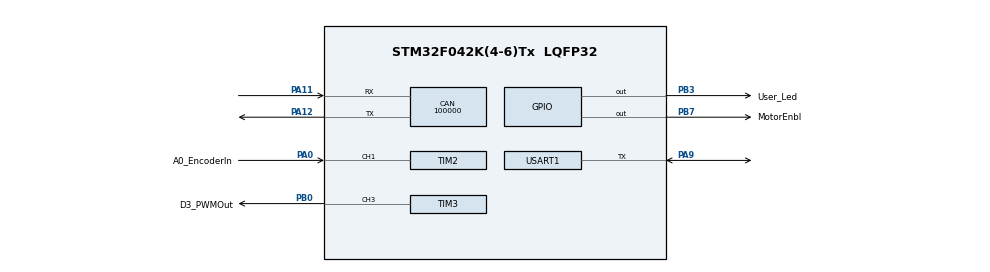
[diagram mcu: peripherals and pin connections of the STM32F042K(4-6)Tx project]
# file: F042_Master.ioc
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ADC.SamplingTime=ADC_SAMPLETIME_239CYCLES_5
CAN.BS1=CAN_BS1_2TQ
CAN.BS2=CAN_BS2_2TQ
CAN.CalculateBaudRate=100000
CAN.CalculateTimeBit=10000
CAN.CalculateTimeQuantum=2000.0
Dma.Request0=TIM2_CH1
Dma.TIM2_CH1.0.Direction=DMA_PERIPH_TO_MEMORY
Dma.TIM2_CH1.0.Instance=DMA1_Channel5
Dma.TIM2_CH1.0.MemDataAlignment=DMA_MDATAALIGN_WORD
Dma.TIM2_CH1.0.MemInc=DMA_MINC_ENABLE
Dma.TIM2_CH1.0.Mode=DMA_CIRCULAR
Dma.TIM2_CH1.0.PeriphDataAlignment=DMA_PDATAALIGN_WORD
Dma.TIM2_CH1.0.PeriphInc=DMA_PINC_DISABLE
Dma.TIM2_CH1.0.Priority=DMA_PRIORITY_LOW
Mcu.Family=STM32F0
Mcu.Name=STM32F042K(4-6)Tx
Mcu.Package=LQFP32
NVIC.CEC_CAN_IRQn=true\:1\:0\:true\:false\:true\:true\:true\:true
NVIC.DMA1_Channel4_5_IRQn=true\:0\:0\:false\:false\:true\:false\:true\:true
NVIC.TIM16_IRQn=true\:3\:0\:true\:false\:true\:true\:true\:true
NVIC.USART1_IRQn=true\:0\:0\:true\:false\:true\:true\:true\:true
PA0.GPIO_Label=A0_EncoderIn
PA0.Signal=S_TIM2_CH1_ETR
PA11.Mode=CAN_Activate
PA11.Signal=CAN_RX
PA12.Mode=CAN_Activate
PA12.Signal=CAN_TX
PA9.Mode=Half_duplex(single_wire_mode)
PA9.Signal=USART1_TX
PB0.GPIO_Label=D3_PWMOut
PB0.Signal=S_TIM3_CH3
PB3.GPIO_Label=User_Led
PB3.Signal=GPIO_Output
PB7.GPIO_Label=MotorEnbl
PB7.Signal=GPIO_Output
ProjectManager.HeapSize=0x200
ProjectManager.StackSize=0x400
ProjectManager.TargetToolchain=MDK-ARM V5.32
SH.S_TIM2_CH1_ETR.0=TIM2_CH1,Input_Capture1_from_TI1
SH.S_TIM3_CH3.0=TIM3_CH3,PWM Generation3 CH3
TIM16.Period=999
TIM16.Prescaler=8
TIM2.Channel-Input_Capture1_from_TI1=TIM_CHANNEL_1
TIM2.Prescaler=8-1
TIM3.Channel-PWM\ Generation3\ CH3=TIM_CHANNEL_3
TIM3.Period=100-1
TIM3.Prescaler=8-1
USART1.BaudRate=9600
USART1.VirtualMode-Half_duplex(single_wire_mode)=VM_ASYNC
VP_ADC_TempSens_Input.Mode=IN-TempSens
VP_CRC_VS_CRC.Mode=CRC_Activate
VP_TIM16_VS_ClockSourceINT.Mode=Enable_Timer
VP_TIM2_VS_ClockSourceINT.Mode=Internal
board=custom

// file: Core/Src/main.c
/* USER CODE BEGIN Header */
/**
  ******************************************************************************
  * @file           : main.c
  * @brief          : Main program body
  ******************************************************************************
  * @attention
  *
  * Copyright (c) 2023 STMicroelectronics.
  * All rights reserved.
  *
  * This software is licensed under terms that can be found in the LICENSE file
  * in the root directory of this software component.
  * If no LICENSE file comes with this software, it is provided AS-IS.
  *
  ******************************************************************************
  */
/* USER CODE END Header */
#include "main.h"

/* USER CODE BEGIN Includes */
#include "usr_system.h"
#include "usr_lin.h"
#include "usr_can.h"
/* USER CODE END Includes */

ADC_HandleTypeDef hadc;

CAN_HandleTypeDef hcan;

CRC_HandleTypeDef hcrc;

TIM_HandleTypeDef htim2;
TIM_HandleTypeDef htim3;
TIM_HandleTypeDef htim16;
DMA_HandleTypeDef hdma_tim2_ch1;

UART_HandleTypeDef huart1;

void SystemClock_Config(void);
static void MX_GPIO_Init(void);
static void MX_DMA_Init(void);
static void MX_CAN_Init(void);
static void MX_CRC_Init(void);
static void MX_USART1_UART_Init(void);
static void MX_TIM16_Init(void);
static void MX_ADC_Init(void);
static void MX_TIM3_Init(void);
static void MX_TIM2_Init(void);

/* USER CODE BEGIN 0 */

void HAL_CAN_RxFifo0MsgPendingCallback(CAN_HandleTypeDef *hcan)
{
  if (HAL_CAN_GetRxMessage(hcan, CAN_RX_FIFO0, &RxHeader, RxData) != HAL_OK)
  {
		g_CANstat = false;
    Error_Handler();
  }

  if ((RxHeader.StdId == CAN_TEMP_ID) || (RxHeader.StdId == CAN_REF_SPEED_ID))
  {
		g_CANstat = true;
	  g_CAN_DataReceived = 1;
  }
}

/* USER CODE END 0 */

int main(void)
{

  /* MCU Configuration--------------------------------------------------------*/

  /* Reset of all peripherals, Initializes the Flash interface and the Systick. */
  HAL_Init();

  /* Configure the system clock */
  SystemClock_Config();

  /* Initialize all configured peripherals */
  MX_GPIO_Init();
  MX_DMA_Init();
  MX_CAN_Init();
  MX_CRC_Init();
  MX_USART1_UART_Init();
  MX_TIM16_Init();
  MX_ADC_Init();
  MX_TIM3_Init();
  MX_TIM2_Init();
  /* USER CODE BEGIN 2 */

  UsrSystemInit();

  /* USER CODE END 2 */

  /* Infinite loop */
  while (1)
  {

    /* USER CODE BEGIN 3 */

    UsrSystemGeneral();

  }
  /* USER CODE END 3 */
}

void SystemClock_Config(void)
{
  RCC_OscInitTypeDef RCC_OscInitStruct = {0};
  RCC_ClkInitTypeDef RCC_ClkInitStruct = {0};
  RCC_PeriphCLKInitTypeDef PeriphClkInit = {0};

  /** Initializes the RCC Oscillators according to the specified parameters
  * in the RCC_OscInitTypeDef structure.
  */
  RCC_OscInitStruct.OscillatorType = RCC_OSCILLATORTYPE_HSI|RCC_OSCILLATORTYPE_HSI14;
  RCC_OscInitStruct.HSIState = RCC_HSI_ON;
  RCC_OscInitStruct.HSI14State = RCC_HSI14_ON;
  RCC_OscInitStruct.HSICalibrationValue = RCC_HSICALIBRATION_DEFAULT;
  RCC_OscInitStruct.HSI14CalibrationValue = 16;
  RCC_OscInitStruct.PLL.PLLState = RCC_PLL_NONE;
  if (HAL_RCC_OscConfig(&RCC_OscInitStruct) != HAL_OK)
  {
    Error_Handler();
  }

  /** Initializes the CPU, AHB and APB buses clocks
  */
  RCC_ClkInitStruct.ClockType = RCC_CLOCKTYPE_HCLK|RCC_CLOCKTYPE_SYSCLK
                              |RCC_CLOCKTYPE_PCLK1;
  RCC_ClkInitStruct.SYSCLKSource = RCC_SYSCLKSOURCE_HSI;
  RCC_ClkInitStruct.AHBCLKDivider = RCC_SYSCLK_DIV1;
  RCC_ClkInitStruct.APB1CLKDivider = RCC_HCLK_DIV1;

  if (HAL_RCC_ClockConfig(&RCC_ClkInitStruct, FLASH_LATENCY_0) != HAL_OK)
  {
    Error_Handler();
  }
  PeriphClkInit.PeriphClockSelection = RCC_PERIPHCLK_USART1;
  PeriphClkInit.Usart1ClockSelection = RCC_USART1CLKSOURCE_PCLK1;
  if (HAL_RCCEx_PeriphCLKConfig(&PeriphClkInit) != HAL_OK)
  {
    Error_Handler();
  }
}

static void MX_ADC_Init(void)
{

  ADC_ChannelConfTypeDef sConfig = {0};

  /** Configure the global features of the ADC (Clock, Resolution, Data Alignment and number of conversion)
  */
  hadc.Instance = ADC1;
  hadc.Init.ClockPrescaler = ADC_CLOCK_ASYNC_DIV1;
  hadc.Init.Resolution = ADC_RESOLUTION_12B;
  hadc.Init.DataAlign = ADC_DATAALIGN_RIGHT;
  hadc.Init.ScanConvMode = ADC_SCAN_DIRECTION_FORWARD;
  hadc.Init.EOCSelection = ADC_EOC_SINGLE_CONV;
  hadc.Init.LowPowerAutoWait = DISABLE;
  hadc.Init.LowPowerAutoPowerOff = DISABLE;
  hadc.Init.ContinuousConvMode = DISABLE;
  hadc.Init.DiscontinuousConvMode = DISABLE;
  hadc.Init.ExternalTrigConv = ADC_SOFTWARE_START;
  hadc.Init.ExternalTrigConvEdge = ADC_EXTERNALTRIGCONVEDGE_NONE;
  hadc.Init.DMAContinuousRequests = DISABLE;
  hadc.Init.Overrun = ADC_OVR_DATA_PRESERVED;
  if (HAL_ADC_Init(&hadc) != HAL_OK)
  {
    Error_Handler();
  }

  /** Configure for the selected ADC regular channel to be converted.
  */
  sConfig.Channel = ADC_CHANNEL_TEMPSENSOR;
  sConfig.Rank = ADC_RANK_CHANNEL_NUMBER;
  sConfig.SamplingTime = ADC_SAMPLETIME_239CYCLES_5;
  if (HAL_ADC_ConfigChannel(&hadc, &sConfig) != HAL_OK)
  {
    Error_Handler();
  }

}

static void MX_CAN_Init(void)
{

  hcan.Instance = CAN;
  hcan.Init.Prescaler = 16;
  hcan.Init.Mode = CAN_MODE_NORMAL;
  hcan.Init.SyncJumpWidth = CAN_SJW_1TQ;
  hcan.Init.TimeSeg1 = CAN_BS1_2TQ;
  hcan.Init.TimeSeg2 = CAN_BS2_2TQ;
  hcan.Init.TimeTriggeredMode = DISABLE;
  hcan.Init.AutoBusOff = DISABLE;
  hcan.Init.AutoWakeUp = DISABLE;
  hcan.Init.AutoRetransmission = DISABLE;
  hcan.Init.ReceiveFifoLocked = DISABLE;
  hcan.Init.TransmitFifoPriority = DISABLE;
  if (HAL_CAN_Init(&hcan) != HAL_OK)
  {
    Error_Handler();
  }
  /* USER CODE BEGIN CAN_Init 2 */

	CAN_FilterTypeDef  sFilterConfig;

  sFilterConfig.FilterBank = 0;
  sFilterConfig.FilterMode = CAN_FILTERMODE_IDMASK;
  sFilterConfig.FilterScale = CAN_FILTERSCALE_32BIT;
  sFilterConfig.FilterIdHigh = 0x0000;
  sFilterConfig.FilterIdLow = 0x0000;
  sFilterConfig.FilterMaskIdHigh = 0x0000;
  sFilterConfig.FilterMaskIdLow = 0x0000;
  sFilterConfig.FilterFIFOAssignment = CAN_RX_FIFO0;
  sFilterConfig.FilterActivation = ENABLE;
  sFilterConfig.SlaveStartFilterBank = 14;

  if (HAL_CAN_ConfigFilter(&hcan, &sFilterConfig) != HAL_OK)
  {
    /* Filter configuration Error */
    Error_Handler();
  }
  /* USER CODE END CAN_Init 2 */

}

static void MX_CRC_Init(void)
{

  hcrc.Instance = CRC;
  hcrc.Init.DefaultInitValueUse = DEFAULT_INIT_VALUE_ENABLE;
  hcrc.Init.InputDataInversionMode = CRC_INPUTDATA_INVERSION_NONE;
  hcrc.Init.OutputDataInversionMode = CRC_OUTPUTDATA_INVERSION_DISABLE;
  hcrc.InputDataFormat = CRC_INPUTDATA_FORMAT_BYTES;
  if (HAL_CRC_Init(&hcrc) != HAL_OK)
  {
    Error_Handler();
  }

}

static void MX_TIM2_Init(void)
{

  TIM_ClockConfigTypeDef sClockSourceConfig = {0};
  TIM_MasterConfigTypeDef sMasterConfig = {0};
  TIM_IC_InitTypeDef sConfigIC = {0};

  htim2.Instance = TIM2;
  htim2.Init.Prescaler = 8-1;
  htim2.Init.CounterMode = TIM_COUNTERMODE_UP;
  htim2.Init.Period = 4294967295;
  htim2.Init.ClockDivision = TIM_CLOCKDIVISION_DIV1;
  htim2.Init.AutoReloadPreload = TIM_AUTORELOAD_PRELOAD_DISABLE;
  if (HAL_TIM_Base_Init(&htim2) != HAL_OK)
  {
    Error_Handler();
  }
  sClockSourceConfig.ClockSource = TIM_CLOCKSOURCE_INTERNAL;
  if (HAL_TIM_ConfigClockSource(&htim2, &sClockSourceConfig) != HAL_OK)
  {
    Error_Handler();
  }
  if (HAL_TIM_IC_Init(&htim2) != HAL_OK)
  {
    Error_Handler();
  }
  sMasterConfig.MasterOutputTrigger = TIM_TRGO_RESET;
  sMasterConfig.MasterSlaveMode = TIM_MASTERSLAVEMODE_DISABLE;
  if (HAL_TIMEx_MasterConfigSynchronization(&htim2, &sMasterConfig) != HAL_OK)
  {
    Error_Handler();
  }
  sConfigIC.ICPolarity = TIM_INPUTCHANNELPOLARITY_RISING;
  sConfigIC.ICSelection = TIM_ICSELECTION_DIRECTTI;
  sConfigIC.ICPrescaler = TIM_ICPSC_DIV1;
  sConfigIC.ICFilter = 0;
  if (HAL_TIM_IC_ConfigChannel(&htim2, &sConfigIC, TIM_CHANNEL_1) != HAL_OK)
  {
    Error_Handler();
  }

}

static void MX_TIM3_Init(void)
{

  TIM_MasterConfigTypeDef sMasterConfig = {0};
  TIM_OC_InitTypeDef sConfigOC = {0};

  htim3.Instance = TIM3;
  htim3.Init.Prescaler = 8-1;
  htim3.Init.CounterMode = TIM_COUNTERMODE_UP;
  htim3.Init.Period = 100-1;
  htim3.Init.ClockDivision = TIM_CLOCKDIVISION_DIV1;
  htim3.Init.AutoReloadPreload = TIM_AUTORELOAD_PRELOAD_DISABLE;
  if (HAL_TIM_PWM_Init(&htim3) != HAL_OK)
  {
    Error_Handler();
  }
  sMasterConfig.MasterOutputTrigger = TIM_TRGO_RESET;
  sMasterConfig.MasterSlaveMode = TIM_MASTERSLAVEMODE_DISABLE;
  if (HAL_TIMEx_MasterConfigSynchronization(&htim3, &sMasterConfig) != HAL_OK)
  {
    Error_Handler();
  }
  sConfigOC.OCMode = TIM_OCMODE_PWM1;
  sConfigOC.Pulse = 0;
  sConfigOC.OCPolarity = TIM_OCPOLARITY_HIGH;
  sConfigOC.OCFastMode = TIM_OCFAST_DISABLE;
  if (HAL_TIM_PWM_ConfigChannel(&htim3, &sConfigOC, TIM_CHANNEL_3) != HAL_OK)
  {
    Error_Handler();
  }
  HAL_TIM_MspPostInit(&htim3);

}

static void MX_TIM16_Init(void)
{

  htim16.Instance = TIM16;
  htim16.Init.Prescaler = 8;
  htim16.Init.CounterMode = TIM_COUNTERMODE_UP;
  htim16.Init.Period = 999;
  htim16.Init.ClockDivision = TIM_CLOCKDIVISION_DIV1;
  htim16.Init.RepetitionCounter = 0;
  htim16.Init.AutoReloadPreload = TIM_AUTORELOAD_PRELOAD_DISABLE;
  if (HAL_TIM_Base_Init(&htim16) != HAL_OK)
  {
    Error_Handler();
  }

}

static void MX_USART1_UART_Init(void)
{

  huart1.Instance = USART1;
  huart1.Init.BaudRate = 9600;
  huart1.Init.WordLength = UART_WORDLENGTH_8B;
  huart1.Init.StopBits = UART_STOPBITS_1;
  huart1.Init.Parity = UART_PARITY_NONE;
  huart1.Init.Mode = UART_MODE_TX_RX;
  huart1.Init.HwFlowCtl = UART_HWCONTROL_NONE;
  huart1.Init.OverSampling = UART_OVERSAMPLING_16;
  huart1.Init.OneBitSampling = UART_ONE_BIT_SAMPLE_DISABLE;
  huart1.AdvancedInit.AdvFeatureInit = UART_ADVFEATURE_NO_INIT;
  if (HAL_HalfDuplex_Init(&huart1) != HAL_OK)
  {
    Error_Handler();
  }
  /* USER CODE BEGIN USART1_Init 2 */

	// Enable the IDLE line detection interrupt
    __HAL_UART_ENABLE_IT(&huart1, UART_IT_IDLE);

  /* USER CODE END USART1_Init 2 */

}

static void MX_DMA_Init(void)
{

  /* DMA controller clock enable */
  __HAL_RCC_DMA1_CLK_ENABLE();

  /* DMA interrupt init */
  /* DMA1_Channel4_5_IRQn interrupt configuration */
  HAL_NVIC_SetPriority(DMA1_Channel4_5_IRQn, 0, 0);
  HAL_NVIC_EnableIRQ(DMA1_Channel4_5_IRQn);

}

static void MX_GPIO_Init(void)
{
  GPIO_InitTypeDef GPIO_InitStruct = {0};

  /* GPIO Ports Clock Enable */
  __HAL_RCC_GPIOA_CLK_ENABLE();
  __HAL_RCC_GPIOB_CLK_ENABLE();

  /*Configure GPIO pin Output Level */
  HAL_GPIO_WritePin(GPIOB, GPIO_PIN_3|GPIO_PIN_7, GPIO_PIN_RESET);

  /*Configure GPIO pins : PB3 PB7 */
  GPIO_InitStruct.Pin = GPIO_PIN_3|GPIO_PIN_7;
  GPIO_InitStruct.Mode = GPIO_MODE_OUTPUT_PP;
  GPIO_InitStruct.Pull = GPIO_NOPULL;
  GPIO_InitStruct.Speed = GPIO_SPEED_FREQ_LOW;
  HAL_GPIO_Init(GPIOB, &GPIO_InitStruct);

}

void Error_Handler(void)
{
  __disable_irq();
  while (1)
  {
  }
}
